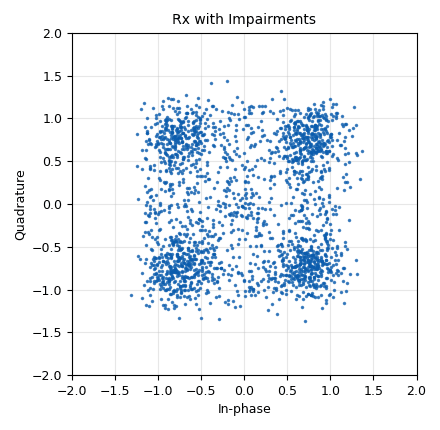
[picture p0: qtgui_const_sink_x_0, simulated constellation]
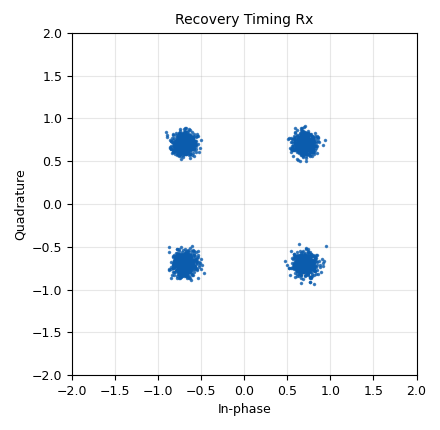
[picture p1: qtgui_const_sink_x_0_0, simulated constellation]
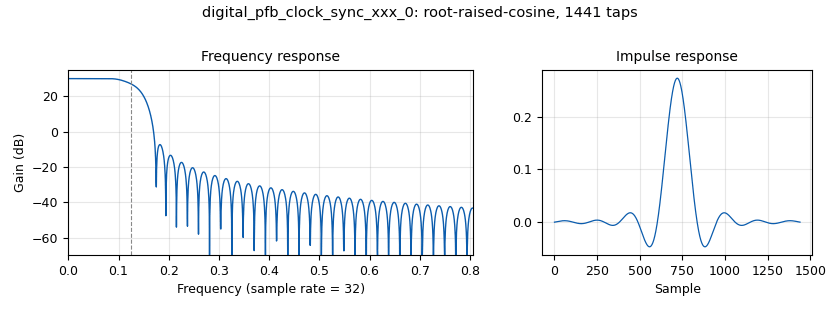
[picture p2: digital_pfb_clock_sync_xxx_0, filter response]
options:
  parameters:
    author: David Venegas
    description: Polyphase Clock Sync
    generate_options: qt_gui
    id: Stage3_Recovery_Timing
    output_language: python
    title: Recovery Timing
  states: {}

blocks:
- name: AWGN
  id: variable_qtgui_range
  parameters:
    label: 'Channel: Noise Voltage'
    orient: Qt.Horizontal
    start: '0'
    step: '0.01'
    stop: '1'
    value: '0.200'
  states: {}
- name: Freq_Offset
  id: variable_qtgui_range
  parameters:
    label: 'Channel: Frequency Offset'
    orient: Qt.Horizontal
    start: '-0.1'
    step: '0.001'
    stop: '0.1'
    value: '0'
  states: {}
- name: QPSK
  id: variable_constellation_rect
  parameters:
    const_points: '[-0.707-0.707j, -0.707+0.707j, 0.707+0.707j, 0.707-0.707j]'
    imag_sect: '2'
    real_sect: '2'
    rot_sym: '4'
    sym_map: '[0, 1, 2, 3]'
    w_imag_sect: '1'
    w_real_sect: '1'
  states: {}
- name: Time_Offset
  id: variable_qtgui_range
  parameters:
    label: 'Channel: Timing Offset'
    orient: Qt.Horizontal
    start: '0.999'
    step: '0.0001'
    stop: '1.001'
    value: '1.0005'
  states: {}
- name: Timming_Loop_bw
  id: variable_qtgui_range
  parameters:
    label: 'Time: BW'
    orient: Qt.Horizontal
    start: '0'
    step: '0.01'
    stop: '0.2'
    value: '0.0628'
  states: {}
- name: excess_bw
  id: variable
  parameters:
    value: '0.35'
  states: {}
- name: nfilts
  id: variable
  parameters:
    value: '32'
  states: {}
- name: root_raise_cosine
  id: variable
  parameters:
    value: firdes.root_raised_cosine(nfilts, nfilts , 1.0/float(sps), 0.35, 45*nfilts)
  states: {}
- name: samp_rate
  id: variable
  parameters:
    value: '32000'
  states: {}
- name: sps
  id: variable
  parameters:
    value: '4'
  states: {}
- name: analog_random_source_x_0
  id: analog_random_source_x
  parameters:
    max: '255'
    min: '0'
    num_samps: '10000'
    repeat: 'True'
    type: byte
  states: {}
- name: blocks_throttle_0
  id: blocks_throttle
  parameters:
    samples_per_second: samp_rate
    type: complex
  states: {}
- name: channels_channel_model_0
  id: channels_channel_model
  parameters:
    epsilon: '1.0005'
    freq_offset: '0'
    noise_voltage: '0.200'
    seed: '0'
    taps: '1'
  states: {}
- name: digital_constellation_modulator_0
  id: digital_constellation_modulator
  parameters:
    constellation: QPSK
    differential: 'True'
    excess_bw: '0.35'
    samples_per_symbol: '4'
  states: {}
- name: digital_pfb_clock_sync_xxx_0
  id: digital_pfb_clock_sync_xxx
  parameters:
    filter_size: '32'
    init_phase: '16'
    loop_bw: '0.0628'
    max_dev: '1.5'
    osps: '1'
    sps: '4.004'
    taps: root_raise_cosine
    type: ccf
  states: {}
- name: qtgui_const_sink_x_0
  id: qtgui_const_sink_x
  parameters:
    grid: 'True'
    name: '"Rx with Impairments"'
    size: '2048'
    type: complex
  states: {}
- name: qtgui_const_sink_x_0_0
  id: qtgui_const_sink_x
  parameters:
    grid: 'True'
    name: '"Recovery Timing Rx"'
    size: '2048'
    type: complex
  states: {}

connections:
- [analog_random_source_x_0, '0', digital_constellation_modulator_0, '0']
- [blocks_throttle_0, '0', channels_channel_model_0, '0']
- [channels_channel_model_0, '0', digital_pfb_clock_sync_xxx_0, '0']
- [channels_channel_model_0, '0', qtgui_const_sink_x_0, '0']
- [digital_constellation_modulator_0, '0', blocks_throttle_0, '0']
- [digital_pfb_clock_sync_xxx_0, '0', qtgui_const_sink_x_0_0, '0']

metadata:
  file_format: 1
